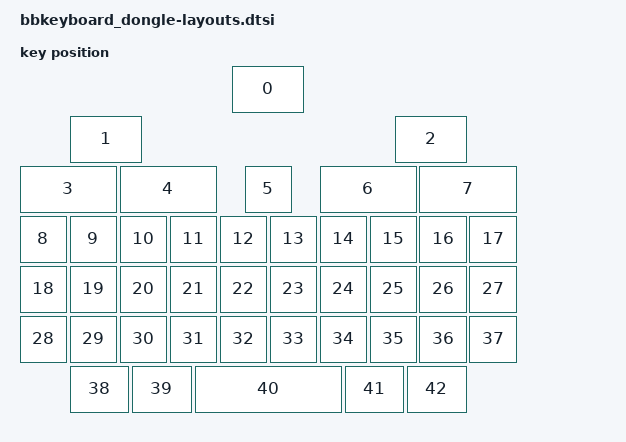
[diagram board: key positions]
#include <physical_layouts.dtsi>
#include <dt-bindings/zmk/matrix_transform.h>

/ {
    bbkeyboard_dongle_layout: bbkeyboard_dongle_layout {
        compatible = "zmk,physical-layout";
        display-name = "bbkeyboard_dongle";

        kscan = <&kscan0>;
        transform = <&matrix_transform0>;

        keys  //                     w   h    x    y     rot    rx    ry
            = <&key_physical_attrs 150 100  425    0       0     0     0>
            , <&key_physical_attrs 150 100  100  100       0     0     0>
            , <&key_physical_attrs 150 100  750  100       0     0     0>
            , <&key_physical_attrs 200 100    0  200       0     0     0>
            , <&key_physical_attrs 200 100  200  200       0     0     0>
            , <&key_physical_attrs 100 100  450  200       0     0     0>
            , <&key_physical_attrs 200 100  600  200       0     0     0>
            , <&key_physical_attrs 200 100  800  200       0     0     0>
            , <&key_physical_attrs 100 100    0  300       0     0     0>
            , <&key_physical_attrs 100 100  100  300       0     0     0>
            , <&key_physical_attrs 100 100  200  300       0     0     0>
            , <&key_physical_attrs 100 100  300  300       0     0     0>
            , <&key_physical_attrs 100 100  400  300       0     0     0>
            , <&key_physical_attrs 100 100  500  300       0     0     0>
            , <&key_physical_attrs 100 100  600  300       0     0     0>
            , <&key_physical_attrs 100 100  700  300       0     0     0>
            , <&key_physical_attrs 100 100  800  300       0     0     0>
            , <&key_physical_attrs 100 100  900  300       0     0     0>
            , <&key_physical_attrs 100 100    0  400       0     0     0>
            , <&key_physical_attrs 100 100  100  400       0     0     0>
            , <&key_physical_attrs 100 100  200  400       0     0     0>
            , <&key_physical_attrs 100 100  300  400       0     0     0>
            , <&key_physical_attrs 100 100  400  400       0     0     0>
            , <&key_physical_attrs 100 100  500  400       0     0     0>
            , <&key_physical_attrs 100 100  600  400       0     0     0>
            , <&key_physical_attrs 100 100  700  400       0     0     0>
            , <&key_physical_attrs 100 100  800  400       0     0     0>
            , <&key_physical_attrs 100 100  900  400       0     0     0>
            , <&key_physical_attrs 100 100    0  500       0     0     0>
            , <&key_physical_attrs 100 100  100  500       0     0     0>
            , <&key_physical_attrs 100 100  200  500       0     0     0>
            , <&key_physical_attrs 100 100  300  500       0     0     0>
            , <&key_physical_attrs 100 100  400  500       0     0     0>
            , <&key_physical_attrs 100 100  500  500       0     0     0>
            , <&key_physical_attrs 100 100  600  500       0     0     0>
            , <&key_physical_attrs 100 100  700  500       0     0     0>
            , <&key_physical_attrs 100 100  800  500       0     0     0>
            , <&key_physical_attrs 100 100  900  500       0     0     0>
            , <&key_physical_attrs 125 100  100  600       0     0     0>
            , <&key_physical_attrs 125 100  225  600       0     0     0>
            , <&key_physical_attrs 300 100  350  600       0     0     0>
            , <&key_physical_attrs 125 100  650  600       0     0     0>
            , <&key_physical_attrs 125 100  775  600       0     0     0>
            ;
    };
};
